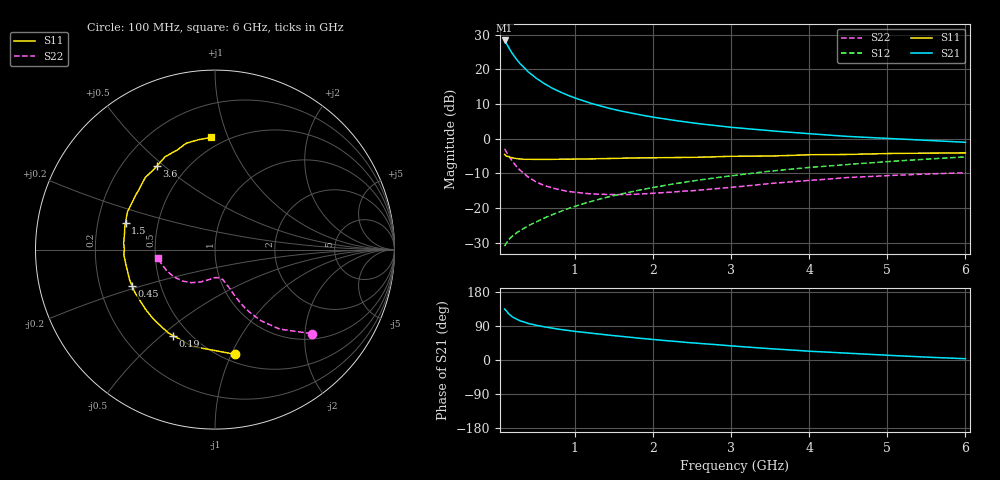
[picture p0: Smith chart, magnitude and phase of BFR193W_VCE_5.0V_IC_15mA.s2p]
! Infineon Technologies  Discrete & RF Semiconductors
! BFR193W
! VCE =  5.0 V,  IC =  15 mA
! Common Emitter S-Parameters:  Nov 2015
# GHz  S  MA  R  50
!  f  S11  S21  S12  S22
! GHz  MAG  ANG  MAG  ANG  MAG  ANG  MAG  ANG
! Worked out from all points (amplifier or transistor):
!   192 points, 100 MHz to 6 GHz, reference 50 ohm
!   highest |S21| = 28.3 dB at 100 MHz (marker M1)
!   |S21| within 3 dB of that: start of sweep to 177.9 MHz
!   unconditionally stable (mu >= 1): 868.9 MHz to 2.556 GHz
!   at 440 MHz: K = 0.82, MSG = 21.7 dB, |S12| = -24.7 dB
!   at 1.7 GHz: K = 1.03, MAG = 10.3 dB, |S12| = -15.4 dB
!   at 6 GHz: K = 0.90, MSG = 2.1 dB, |S12| = -5.2 dB
!   S11 on the Smith chart (normalised r, x): 100 MHz: 0.57, -1.03; 190 MHz: 0.41, -0.55; 450 MHz: 0.34, -0.19; 1.5 GHz: 0.32, +0.13; 3.6 GHz: 0.34, +0.47; 6 GHz: 0.42, +0.87
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0.1  0.5937 -79.2  26.13 134.4  0.0282 59.5  0.7136 -41.0
0.15  0.5537 -103.0  20.7 122.0  0.035 54.6  0.571 -50.9
0.19  0.5328 -116.0  17.58 115.5  0.0386 53.0  0.4911 -55.7
0.2  0.532 -119.3  16.85 113.5  0.0395 52.7  0.4718 -57.1
0.24  0.5192 -128.7  14.6 109.0  0.0429 52.8  0.4125 -60.3
0.26  0.5158 -132.7  13.64 106.9  0.0445 53.0  0.388 -61.6
0.3  0.5104 -139.4  12.02 103.2  0.0475 53.7  0.3489 -63.6
0.4  0.5061 -152.4  9.25 96.5  0.0551 56.0  0.2803 -66.9
0.45  0.5042 -156.4  8.372 94.3  0.059 57.2  0.2597 -67.7
0.5  0.5048 -160.5  7.508 91.7  0.0629 58.3  0.2391 -68.7
0.6  0.5023 -167.2  6.314 87.7  0.0713 60.3  0.2131 -70.8
0.7  0.5043 -172.1  5.425 84.1  0.0795 61.9  0.1959 -72.1
0.9  0.5052 179.6  4.263 78.3  0.0972 64.0  0.1746 -75.0
1.1  0.5101 173.1  3.558 73.4  0.1149 65.0  0.1645 -78.6
1.2  0.5117 170.1  3.252 70.8  0.124 65.2  0.1599 -80.8
1.5  0.5195 163.2  2.641 64.2  0.1511 65.4  0.1567 -86.7
2.08  0.5315 150.4  1.982 52.7  0.2053 63.8  0.1651 -97.9
3.1  0.5586 132.7  1.428 35.9  0.3016 57.7  0.2035 -117.0
3.6  0.5668 124.9  1.277 28.6  0.3491 53.9  0.2303 -127.6
4.1  0.5877 116.7  1.16 22.2  0.3929 49.8  0.2549 -137.9
5.1  0.6144 103.8  0.997 11.5  0.4756 41.5  0.297 -158.9
6  0.6255 91.9  0.889 3.4  0.547 33.6  0.3233 -172.1
